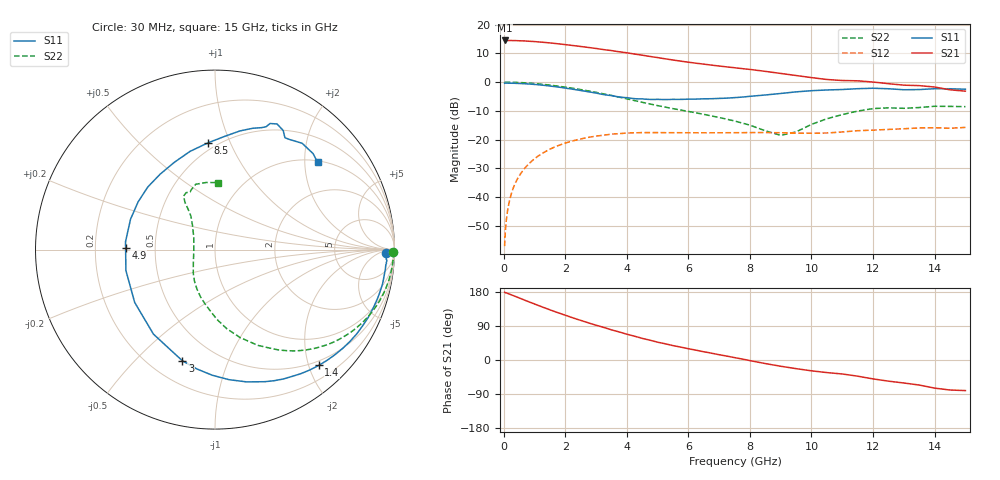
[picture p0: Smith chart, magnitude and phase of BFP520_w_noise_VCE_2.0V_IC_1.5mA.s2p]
! Infineon Technologies  Discrete & RF Semiconductors
! BFP520
! VCE =  2.0 V,  IC =  1.5 mA
! Common Emitter S-Parameters:  Oct 2015
# GHz  S  MA  R  50
!  f  S11  S21  S12  S22
! GHz  MAG  ANG  MAG  ANG  MAG  ANG  MAG  ANG
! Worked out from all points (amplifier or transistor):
!   109 points, 30 MHz to 15 GHz, reference 50 ohm
!   highest |S21| = 14.5 dB at 30 MHz (marker M1)
!   |S21| within 3 dB of that: start of sweep to 3.131 GHz
!   unconditionally stable (mu >= 1): 5.293 GHz to end of sweep
!   at 450 MHz: K = 0.04, MSG = 24.0 dB, |S12| = -33.6 dB
!   at 4 GHz: K = 0.68, MSG = 14.0 dB, |S12| = -17.7 dB
!   at 15 GHz: K = 1.77, MAG = 1.2 dB, |S12| = -15.8 dB
!   lowest NFmin = 0.90 dB at 900 MHz
!   S11 on the Smith chart (normalised r, x): 30 MHz: 38, -15; 1.4 GHz: 0.42, -2.17; 3 GHz: 0.33, -0.70; 4.9 GHz: 0.33, +0.01; 8.5 GHz: 0.45, +0.83; 15 GHz: 1.04, +2.32
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0.03  0.9555 -1.0  5.289 178.8  0.0014 82.1  0.9939 -0.7
0.08  0.9551 -2.6  5.27 177.3  0.0038 85.7  0.9947 -1.7
0.13  0.9567 -4.3  5.271 175.8  0.006 86.7  0.9939 -2.8
0.35  0.9528 -11.8  5.264 168.7  0.0162 83.3  0.9882 -7.6
0.7  0.9336 -23.8  5.179 157.3  0.0325 77.0  0.9687 -15.1
1  0.9095 -34.2  5.058 147.8  0.0463 71.0  0.9424 -21.4
1.4  0.8664 -48.1  4.843 135.6  0.0637 62.9  0.8971 -29.5
1.6  0.8406 -55.3  4.736 129.5  0.0719 58.8  0.8707 -33.4
2  0.7867 -69.3  4.484 118.1  0.0868 50.9  0.815 -40.8
2.6  0.7 -91.3  4.095 102.0  0.1052 39.7  0.7249 -51.1
3  0.6453 -106.4  3.841 91.8  0.115 32.7  0.6625 -57.6
3.5  0.5825 -126.1  3.531 79.6  0.1242 24.3  0.5853 -65.8
4  0.5355 -146.7  3.231 68.0  0.1299 16.5  0.5108 -74.0
4.9  0.4982 178.7  2.713 49.2  0.1321 5.0  0.3999 -86.9
5.1  0.4976 172.1  2.612 45.3  0.132 3.0  0.3801 -89.4
6  0.5043 148.1  2.215 29.7  0.1314 -4.4  0.3086 -100.2
7.6  0.5405 112.8  1.749 4.8  0.1317 -14.3  0.2037 -124.6
8.5  0.596 93.8  1.535 -9.4  0.1324 -19.6  0.142 -148.2
9  0.6332 85.1  1.412 -16.5  0.1315 -22.5  0.1183 -176.9
10.5  0.7286 68.9  1.108 -33.2  0.1301 -26.1  0.23 125.7
13  0.735 58.0  0.883 -60.7  0.1542 -38.3  0.3496 113.4
15  0.7504 40.3  0.695 -80.7  0.1626 -50.7  0.3737 87.2
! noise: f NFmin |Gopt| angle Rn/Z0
0.45  0.92  0.73  5  0.48
0.9  0.9  0.68  14  0.49
1.9  1.25  0.56  30  0.4
2.4  1.37  0.51  42  0.39
3.5  1.35  0.5  67  0.34
